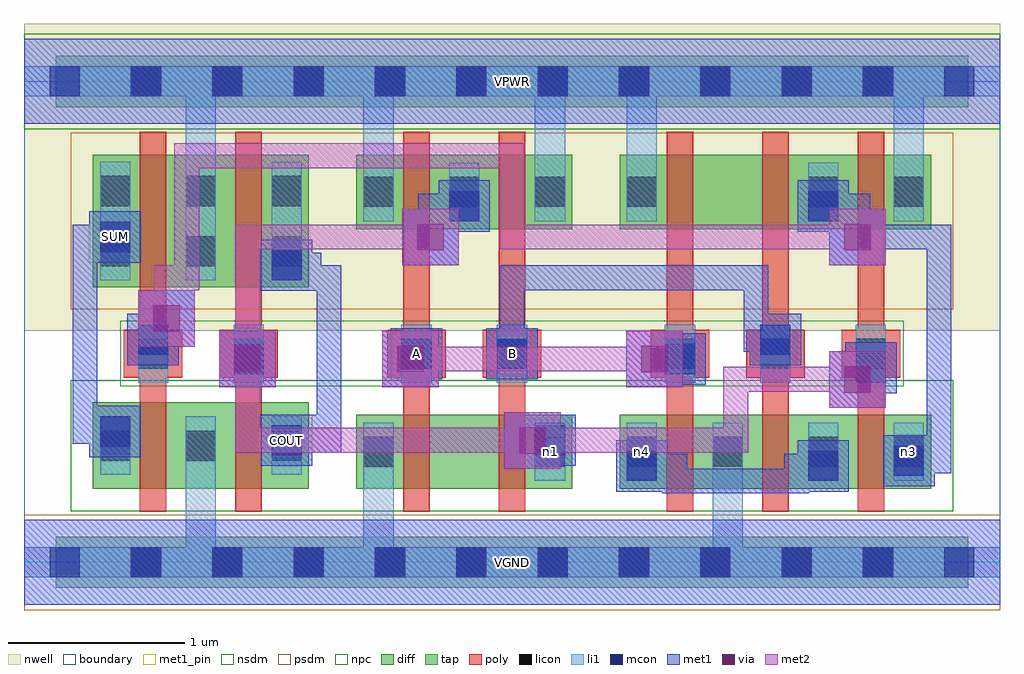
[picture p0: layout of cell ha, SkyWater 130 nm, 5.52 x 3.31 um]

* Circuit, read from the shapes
.subckt ha A B COUT SUM VGND VPWR n1 n3 n4
XM1 VGND n3 SUM VGND sky130_fd_pr__nfet_01v8 w=0.49 l=0.15
XM2 COUT n1 VGND VGND sky130_fd_pr__nfet_01v8 w=0.49 l=0.15
XM3 n2 A VGND VGND sky130_fd_pr__nfet_01v8 w=0.42 l=0.15
XM4 n1 B n2 VGND sky130_fd_pr__nfet_01v8 w=0.42 l=0.15
XM5 VGND A n4 VGND sky130_fd_pr__nfet_01v8 w=0.42 l=0.15
XM6 n4 B VGND VGND sky130_fd_pr__nfet_01v8 w=0.42 l=0.15
XM7 n3 n1 n4 VGND sky130_fd_pr__nfet_01v8 w=0.42 l=0.15
XM8 VPWR n3 SUM VPWR sky130_fd_pr__pfet_01v8 w=0.75 l=0.15
XM9 COUT n1 VPWR VPWR sky130_fd_pr__pfet_01v8 w=0.75 l=0.15
XM10 n1 A VPWR VPWR sky130_fd_pr__pfet_01v8 w=0.42 l=0.15
XM11 VPWR B n1 VPWR sky130_fd_pr__pfet_01v8 w=0.42 l=0.15
XM12 n5 A VPWR VPWR sky130_fd_pr__pfet_01v8 w=0.42 l=0.15
XM13 n3 B n5 VPWR sky130_fd_pr__pfet_01v8 w=0.42 l=0.15
XM14 VPWR n1 n3 VPWR sky130_fd_pr__pfet_01v8 w=0.42 l=0.15
.ends

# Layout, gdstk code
import gdstk
lib = gdstk.Library(unit=1e-6, precision=1e-09)
def R(c, l, rs):  # rectangles x0, y0, x1, y1
    for r in rs: c.add(gdstk.rectangle(r[:2], r[2:], *l))
def A(c, l, x, y, w, h, nx, ny, dx, dy):  # array of equal rectangles
    R(c, l, [(x+i*dx, y+j*dy, x+i*dx+w, y+j*dy+h) for i in range(nx) for j in range(ny)])
nwell = (64, 20)
diff = (65, 20)
tap = (65, 44)
poly = (66, 20)
licon = (66, 44)
li1 = (67, 20)
mcon = (67, 44)
met1_pin = (68, 16)
met1 = (68, 20)
via = (68, 44)
met2 = (69, 20)
nsdm = (93, 44)
psdm = (94, 20)
npc = (95, 20)
boundary = (235, 4)

c_ha = lib.new_cell('ha')
R(c_ha, nwell, [(0,1.31,5.52,3.045)])
R(c_ha, diff, [(0.39,0.415,1.61,0.905), (1.88,0.415,3.1,0.835), (3.37,0.415,5.13,0.835), (0.39,1.555,1.61,2.305), (1.88,1.885,3.1,2.305), (3.37,1.885,5.13,2.305)])
R(c_ha, tap, [(0.18,-0.145,5.34,0.145), (0.18,2.575,5.34,2.865)])
A(c_ha, poly, 3.635, 0.285, 0.15, 2.15, 3, 1, 0.54, 0)
A(c_ha, poly, 3.545, 1.045, 0.33, 0.27, 3, 1, 0.54, 0)
R(c_ha, poly, [(0.655,0.285,0.805,2.435), (1.195,0.285,1.345,2.435), (2.145,0.285,2.295,2.435), (2.685,0.285,2.835,2.435), (0.565,1.045,0.895,1.315), (1.105,1.045,1.435,1.315), (2.055,1.045,2.385,1.315), (2.595,1.045,2.925,1.315)])
A(c_ha, licon, 0.605, -0.085, 0.17, 0.17, 10, 2, 0.46, 2.72)
A(c_ha, licon, 0.43, 0.575, 0.17, 0.17, 3, 2, 0.485, 1.1)
A(c_ha, licon, 3.625, 1.095, 0.17, 0.17, 3, 1, 0.54, 0)
A(c_ha, licon, 1.92, 2.01, 0.17, 0.17, 3, 1, 0.485, 0)
A(c_ha, licon, 0.43, 2.015, 0.17, 0.17, 3, 1, 0.485, 0)
R(c_ha, licon, [(1.92,0.54,2.09,0.71), (2.89,0.54,3.06,0.71), (3.41,0.54,3.58,0.71), (3.895,0.54,4.065,0.71), (4.435,0.54,4.605,0.71), (4.92,0.54,5.09,0.71), (0.645,1.095,0.815,1.265), (1.185,1.095,1.355,1.265), (2.135,1.095,2.305,1.265), (2.675,1.095,2.845,1.265), (3.41,2.01,3.58,2.18), (4.435,2.01,4.605,2.18), (4.92,2.01,5.09,2.18)])
A(c_ha, li1, 0.43, 0.495, 0.17, 0.33, 3, 1, 0.485, 0)
A(c_ha, li1, 3.625, 1.015, 0.17, 0.33, 3, 1, 0.54, 0)
A(c_ha, li1, 0.43, 1.595, 0.17, 0.67, 3, 1, 0.485, 0)
A(c_ha, li1, 1.92, 1.93, 0.17, 0.33, 3, 1, 0.485, 0)
R(c_ha, li1, [(0,-0.085,5.52,0.085), (0.915,-0.085,1.085,0.825), (1.92,-0.085,2.09,0.79), (3.895,-0.085,4.065,0.79), (1.92,0.46,2.09,0.79), (2.89,0.46,3.06,0.79), (3.41,0.46,3.58,0.79), (3.895,0.46,4.065,0.79), (4.435,0.46,4.605,0.79), (4.92,0.46,5.09,0.79), (0.645,1.015,0.815,1.345), (1.185,1.015,1.355,1.345), (2.135,1.015,2.305,1.345), (2.675,1.015,2.845,1.345), (0.915,1.595,1.085,2.805), (1.92,1.93,2.09,2.805), (2.89,1.93,3.06,2.805), (3.41,1.93,3.58,2.26), (3.41,1.93,3.58,2.805), (4.435,1.93,4.605,2.26), (4.92,1.93,5.09,2.26), (4.92,1.93,5.09,2.805), (0,2.635,5.52,2.805)])
A(c_ha, mcon, 0.145, -0.085, 0.17, 0.17, 12, 2, 0.46, 2.72)
R(c_ha, mcon, [(3.41,0.46,3.58,0.63), (4.435,0.46,4.605,0.63), (4.92,0.49,5.09,0.66), (1.4,0.605,1.57,0.775), (2.89,0.605,3.06,0.775), (0.43,0.655,0.6,0.825), (4.705,1.015,4.875,1.185), (1.185,1.065,1.355,1.235), (3.625,1.065,3.795,1.235), (2.135,1.095,2.305,1.265), (2.675,1.095,2.845,1.265), (0.645,1.175,0.815,1.345), (4.165,1.175,4.335,1.345), (1.4,1.595,1.57,1.765), (0.43,1.755,0.6,1.925), (2.405,1.93,2.575,2.1), (4.435,1.93,4.605,2.1)])
R(c_ha, met1_pin, [(0,-0.24,5.52,0.24), (1.34,0.545,1.63,0.835), (2.075,1.035,2.365,1.325), (2.615,1.035,2.905,1.325), (0.37,1.695,0.66,1.985), (0,2.48,5.52,2.96)])
R(c_ha, met1, [(0,-0.24,5.52,0.24), (3.61,0.39,3.75,0.615), (3.61,0.39,4.44,0.53), (4.3,0.39,4.44,0.615), (3.35,0.4,3.64,0.69), (4.375,0.4,4.665,0.69), (4.86,0.43,5.15,0.72), (3.425,0.475,3.75,0.615), (4.3,0.475,4.59,0.615), (4.935,0.505,5.245,0.645), (5.105,0.505,5.245,1.91), (2.715,0.53,3.035,0.85), (1.34,0.545,1.63,0.835), (2.83,0.545,3.12,0.835), (0.37,0.595,0.66,0.885), (1.415,0.62,1.68,0.76), (1.54,0.62,1.795,0.76), (1.63,0.62,1.655,0.835), (1.655,0.62,1.795,1.68), (2.805,0.62,3.045,0.76), (0.275,0.67,0.585,0.81), (0.275,0.67,0.415,0.99), (0.275,0.85,0.415,1.91), (4.555,0.875,4.875,1.195), (4.645,0.955,4.935,1.245), (4.645,0.965,4.785,1.17), (1.105,0.99,1.425,1.31), (2.025,0.99,2.345,1.31), (3.405,0.99,3.725,1.31), (1.125,1.005,1.415,1.295), (3.565,1.005,3.855,1.295), (4.645,1.03,4.86,1.17), (2.075,1.035,2.365,1.325), (2.615,1.035,2.905,1.325), (1.195,1.08,1.34,1.22), (2.115,1.08,2.255,1.22), (2.69,1.08,2.83,1.22), (2.69,1.08,2.83,1.68), (3.495,1.08,3.78,1.22), (0.585,1.115,0.875,1.405), (4.105,1.115,4.395,1.405), (0.66,1.19,0.875,1.33), (0.735,1.19,0.875,1.45), (4.07,1.19,4.21,1.45), (4.07,1.19,4.32,1.33), (0.645,1.22,0.965,1.54), (4.07,1.31,4.21,1.68), (1.34,1.535,1.63,1.825), (1.63,1.535,1.655,1.68), (1.54,1.54,1.68,1.75), (1.54,1.54,1.795,1.68), (2.69,1.54,4.21,1.68), (1.415,1.61,1.68,1.75), (2.14,1.68,2.46,2), (4.555,1.68,4.875,2), (0.37,1.695,0.66,1.985), (0.275,1.77,0.585,1.91), (2.23,1.77,2.37,2.085), (4.645,1.77,4.785,2.085), (4.645,1.77,5.245,1.91), (2.345,1.87,2.635,2.16), (4.375,1.87,4.665,2.16), (2.23,1.945,2.56,2.085), (4.45,1.945,4.785,2.085), (0,2.48,5.52,2.96)])
R(c_ha, via, [(2.8,0.615,2.95,0.765), (4.64,0.96,4.79,1.11), (1.19,1.075,1.34,1.225), (2.11,1.075,2.26,1.225), (3.49,1.075,3.64,1.225), (0.73,1.305,0.88,1.455), (2.225,1.765,2.375,1.915), (4.64,1.765,4.79,1.915)])
R(c_ha, met2, [(2.715,0.53,3.035,0.85), (1.195,0.62,1.335,1.22), (1.195,0.62,2.945,0.76), (2.805,0.62,4.095,0.76), (3.955,0.62,4.095,1.105), (4.555,0.875,4.875,1.195), (3.955,0.965,4.785,1.105), (1.105,0.99,1.425,1.31), (2.025,0.99,2.345,1.31), (3.405,0.99,3.725,1.31), (1.195,1.08,1.335,1.91), (2.115,1.08,3.635,1.22), (0.645,1.22,0.965,1.54), (0.735,1.31,0.875,1.68), (0.735,1.54,0.99,1.68), (0.85,1.54,0.99,2.37), (2.14,1.68,2.46,2), (4.555,1.68,4.875,2), (1.195,1.77,2.37,1.91), (2.69,1.77,2.83,2.37), (2.69,1.77,4.785,1.91), (0.85,2.23,2.83,2.37)])
R(c_ha, nsdm, [(0.265,0.29,5.255,1.03), (0,2.45,5.52,2.99)])
R(c_ha, psdm, [(0,-0.27,5.52,0.27), (0.265,1.43,5.255,2.43)])
R(c_ha, npc, [(0.545,0.995,4.975,1.365)])
R(c_ha, boundary, [(0,0,5.52,2.72)])
c_ha.add(gdstk.Label('n1', (2.975,0.625), layer=67, texttype=5))
c_ha.add(gdstk.Label('n4', (3.495,0.625), layer=67, texttype=5))
c_ha.add(gdstk.Label('n3', (5.005,0.625), layer=67, texttype=5))
c_ha.add(gdstk.Label('A', (2.22,1.18), layer=68, texttype=5))
c_ha.add(gdstk.Label('B', (2.76,1.18), layer=68, texttype=5))
c_ha.add(gdstk.Label('SUM', (0.515,1.84), layer=68, texttype=5))
c_ha.add(gdstk.Label('COUT', (1.485,0.69), layer=68, texttype=5))
c_ha.add(gdstk.Label('VPWR', (2.76,2.72), layer=68, texttype=5))
c_ha.add(gdstk.Label('VGND', (2.76,0), layer=68, texttype=5))
c_ha.add(gdstk.Label('A', (2.22,1.18), layer=68, texttype=16))
c_ha.add(gdstk.Label('B', (2.76,1.18), layer=68, texttype=16))
c_ha.add(gdstk.Label('SUM', (0.515,1.84), layer=68, texttype=16))
c_ha.add(gdstk.Label('COUT', (1.485,0.69), layer=68, texttype=16))
c_ha.add(gdstk.Label('VPWR', (2.76,2.72), layer=68, texttype=16))
c_ha.add(gdstk.Label('VGND', (2.76,0), layer=68, texttype=16))

lib.write_gds('ha.gds')
